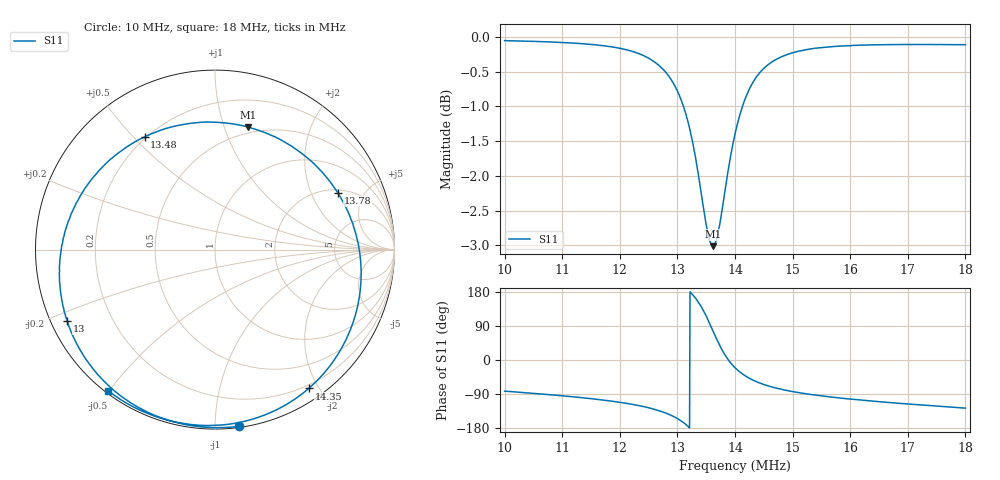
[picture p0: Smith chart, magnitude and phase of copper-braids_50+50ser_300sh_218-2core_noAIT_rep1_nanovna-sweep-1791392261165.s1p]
! NanoVNA Web complex sweep
! Processing: unaveraged complex samples; linear segment spacing; no smoothing
# Hz S RI R 50
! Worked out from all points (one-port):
!   1010 points, 10 MHz to 18 MHz, reference 50 ohm
!   lowest |S11| = -3.0 dB at 13.62 MHz (marker M1), VSWR 5.83, Z = 22.1 + j60.4 ohm
!   |S11| at or under -10 dB: nowhere
!   S11 on the Smith chart (normalised r, x): 10 MHz: 0.01, -1.15; 13 MHz: 0.05, -0.23; 13.48 MHz: 0.19, +0.54; 13.78 MHz: 2.16, +3.17; 14.35 MHz: 0.16, -1.87; 18 MHz: 0.01, -0.50
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1e7  0.135 -0.9846
1.100698e7  -0.0783 -0.9876
1.200604e7  -0.3639 -0.911
1.233906e7  -0.4949 -0.8371
1.260864e7  -0.6219 -0.7299
1.282272e7  -0.7356 -0.5854
1.299716e7  -0.8246 -0.3966
1.300509e7  -0.8273 -0.3855
1.316367e7  -0.866 -0.1176
1.328261e7  -0.8178 0.1559
1.338568e7  -0.6632 0.4195
1.348083e7  -0.3925 0.6275
1.355219e7  -0.1149 0.7058
1.362355e7  0.1854 0.6823
1.371077e7  0.5058 0.5182
1.378213e7  0.6843 0.3167
1.382971e7  0.7576 0.1689
1.388521e7  0.8028 0.00228
1.400414e7  0.7975 -0.303
1.408344e7  0.7491 -0.4587
1.416272e7  0.6863 -0.5814
1.435302e7  0.5226 -0.7733
1.462261e7  0.3204 -0.9029
1.50032e7  0.1108 -0.9677
1.545515e7  -0.0661 -0.9797
1.600225e7  -0.2229 -0.9596
1.700131e7  -0.4346 -0.8866
1.800036e7  -0.5936 -0.7886
